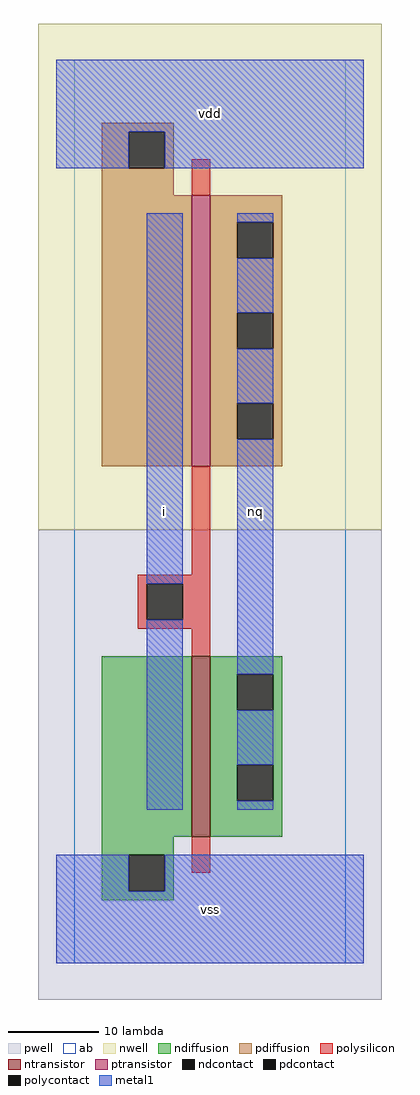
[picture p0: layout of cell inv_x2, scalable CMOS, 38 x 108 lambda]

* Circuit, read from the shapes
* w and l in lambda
.subckt inv_x2 i nq vdd vss
M1 nq i vss VSUBS nfet w=20 l=2
M2 nq i vdd n1 pfet w=30 l=2
.ends

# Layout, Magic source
magic
tech scmos
<< ab >>
rect 0 0 30 100
<< pwell >>
rect -4 -4 34 48
<< nwell >>
rect -4 48 34 104
<< polysilicon >>
rect 13 85 15 89
rect 13 43 15 55
rect 7 42 15 43
rect 7 38 8 42
rect 12 38 15 42
rect 7 37 15 38
rect 13 34 15 37
rect 13 10 15 14
<< ndiffusion >>
rect 3 14 13 34
rect 15 32 23 34
rect 15 28 18 32
rect 22 28 23 32
rect 15 22 23 28
rect 15 18 18 22
rect 22 18 23 22
rect 15 14 23 18
rect 3 12 11 14
rect 3 8 6 12
rect 10 8 11 12
rect 3 7 11 8
<< pdiffusion >>
rect 3 92 11 93
rect 3 88 6 92
rect 10 88 11 92
rect 3 85 11 88
rect 3 55 13 85
rect 15 82 23 85
rect 15 78 18 82
rect 22 78 23 82
rect 15 72 23 78
rect 15 68 18 72
rect 22 68 23 72
rect 15 62 23 68
rect 15 58 18 62
rect 22 58 23 62
rect 15 55 23 58
<< metal1 >>
rect -2 92 32 100
rect -2 88 6 92
rect 10 88 32 92
rect 8 42 12 83
rect 8 17 12 38
rect 18 82 22 83
rect 18 72 22 78
rect 18 62 22 68
rect 18 32 22 58
rect 18 22 22 28
rect 18 17 22 18
rect -2 8 6 12
rect 10 8 32 12
rect -2 0 32 8
<< ntransistor >>
rect 13 14 15 34
<< ptransistor >>
rect 13 55 15 85
<< polycontact >>
rect 8 38 12 42
<< ndcontact >>
rect 18 28 22 32
rect 18 18 22 22
rect 6 8 10 12
<< pdcontact >>
rect 6 88 10 92
rect 18 78 22 82
rect 18 68 22 72
rect 18 58 22 62
<< labels >>
rlabel metal1 15 6 15 6 6 vss
rlabel metal1 10 50 10 50 6 i
rlabel metal1 15 94 15 94 6 vdd
rlabel metal1 20 50 20 50 6 nq
<< end >>
